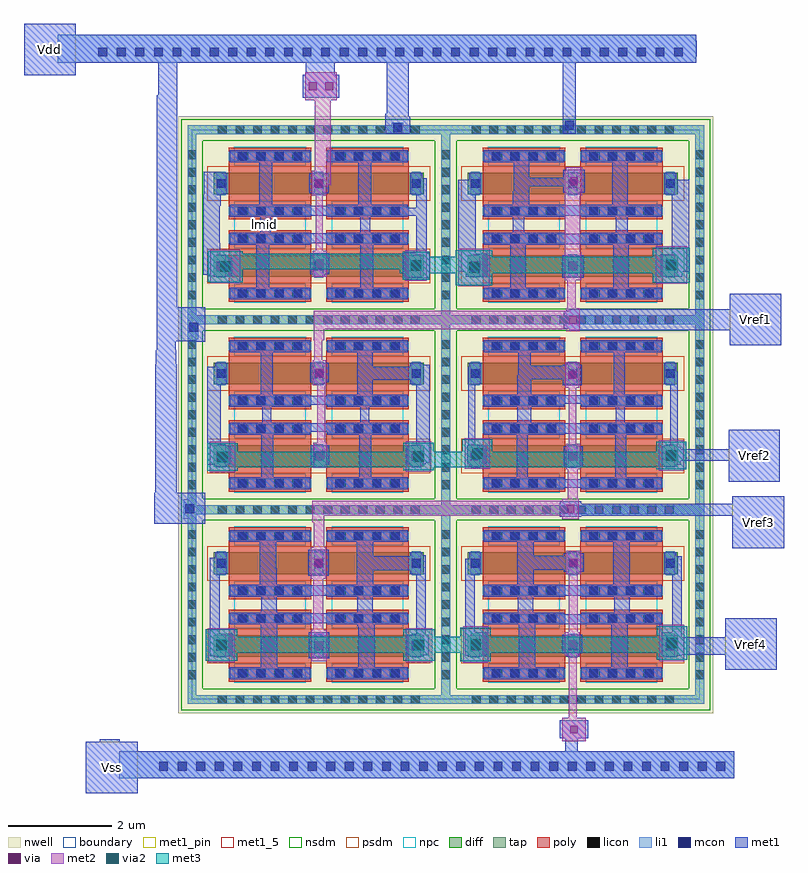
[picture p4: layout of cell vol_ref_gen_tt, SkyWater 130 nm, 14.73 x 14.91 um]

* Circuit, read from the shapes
.subckt vol_ref_gen_tt Vdd Vref1 Vref2 Vref3 Vref4 Vss lmid
XM1 Vref3 Vref4 Vref4 Vdd sky130_fd_pr__pfet_01v8 w=0.42 l=1.6 m=4
XM2 Vref1 Vref2 Vref2 Vdd sky130_fd_pr__pfet_01v8 w=0.42 l=1.6 m=4
XM3 Vdd lmid lmid Vdd sky130_fd_pr__pfet_01v8 w=0.42 l=1.6 m=4
XM4 Vss Vss Vref4 Vdd sky130_fd_pr__pfet_01v8 w=0.42 l=1.6 m=4
XM5 Vref3 Vref3 Vref2 Vdd sky130_fd_pr__pfet_01v8 w=0.42 l=1.6 m=4
XM6 Vref1 Vref1 lmid Vdd sky130_fd_pr__pfet_01v8 w=0.42 l=1.6 m=4
.ends

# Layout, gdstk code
import gdstk
lib = gdstk.Library(unit=1e-6, precision=1e-09)
def R(c, l, rs):  # rectangles x0, y0, x1, y1
    for r in rs: c.add(gdstk.rectangle(r[:2], r[2:], *l))
def A(c, l, x, y, w, h, nx, ny, dx, dy):  # array of equal rectangles
    R(c, l, [(x+i*dx, y+j*dy, x+i*dx+w, y+j*dy+h) for i in range(nx) for j in range(ny)])
nwell = (64, 20)
diff = (65, 20)
tap = (65, 44)
poly = (66, 20)
licon = (66, 44)
li1 = (67, 20)
mcon = (67, 44)
met1_5 = (68, 5)
met1_pin = (68, 16)
met1 = (68, 20)
via = (68, 44)
met2 = (69, 20)
via2 = (69, 44)
met3 = (70, 20)
nsdm = (93, 44)
psdm = (94, 20)
npc = (95, 20)
boundary = (235, 4)

sky130_fd_pr__pfet_01v8_ = lib.new_cell('sky130_fd_pr__pfet_01v8_8WDS2C')
R(sky130_fd_pr__pfet_01v8_, nwell, [(-2.725,-2.105,2.725,2.105)])
R(sky130_fd_pr__pfet_01v8_, diff, [(-2.035,-1.01,2.035,-0.59), (-2.035,0.59,2.035,1.01)])
R(sky130_fd_pr__pfet_01v8_, tap, [(-2.545,-1.925,2.545,-1.755), (-2.545,-1.755,-2.375,1.755), (2.375,-1.755,2.545,1.755), (-2.545,1.755,2.545,1.925)])
R(sky130_fd_pr__pfet_01v8_, poly, [(-1.745,-1.495,-0.145,-0.105), (0.145,-1.495,1.745,-0.105), (-1.745,0.105,-0.145,1.495), (0.145,0.105,1.745,1.495)])
A(sky130_fd_pr__pfet_01v8_, licon, -1.955, -1.925, 0.17, 0.17, 12, 2, 0.34, 3.68)
A(sky130_fd_pr__pfet_01v8_, licon, -2.545, -1.445, 0.17, 0.17, 1, 9, 0, 0.34)
A(sky130_fd_pr__pfet_01v8_, licon, 2.375, -1.445, 0.17, 0.17, 1, 9, 0, 0.34)
A(sky130_fd_pr__pfet_01v8_, licon, -1.54, -1.415, 0.17, 0.17, 4, 2, 0.34, 1.06)
A(sky130_fd_pr__pfet_01v8_, licon, 0.35, -1.415, 0.17, 0.17, 4, 2, 0.34, 1.06)
A(sky130_fd_pr__pfet_01v8_, licon, -1.975, -0.885, 0.17, 0.17, 3, 2, 1.89, 1.6)
A(sky130_fd_pr__pfet_01v8_, licon, -1.54, 0.185, 0.17, 0.17, 4, 2, 0.34, 1.06)
A(sky130_fd_pr__pfet_01v8_, licon, 0.35, 0.185, 0.17, 0.17, 4, 2, 0.34, 1.06)
A(sky130_fd_pr__pfet_01v8_, li1, -1.975, -1.03, 0.17, 0.46, 3, 2, 1.89, 1.6)
R(sky130_fd_pr__pfet_01v8_, li1, [(-2.545,-1.925,2.545,-1.755), (-2.545,-1.755,-2.375,1.755), (2.375,-1.755,2.545,1.755), (-1.745,-1.415,-0.145,-1.245), (0.145,-1.415,1.745,-1.245), (-1.745,-0.355,-0.145,-0.185), (0.145,-0.355,1.745,-0.185), (-1.745,0.185,-0.145,0.355), (0.145,0.185,1.745,0.355), (-1.745,1.245,-0.145,1.415), (0.145,1.245,1.745,1.415), (-2.545,1.755,2.545,1.925)])
A(sky130_fd_pr__pfet_01v8_, mcon, -1.57, -1.415, 0.17, 0.17, 4, 2, 0.36, 1.06)
A(sky130_fd_pr__pfet_01v8_, mcon, 0.32, -1.415, 0.17, 0.17, 4, 2, 0.36, 1.06)
A(sky130_fd_pr__pfet_01v8_, mcon, -1.975, -0.885, 0.17, 0.17, 3, 2, 1.89, 1.6)
A(sky130_fd_pr__pfet_01v8_, mcon, -1.57, 0.185, 0.17, 0.17, 4, 2, 0.36, 1.06)
A(sky130_fd_pr__pfet_01v8_, mcon, 0.32, 0.185, 0.17, 0.17, 4, 2, 0.36, 1.06)
A(sky130_fd_pr__pfet_01v8_, met1, -2.005, -1.01, 0.23, 0.42, 3, 2, 1.89, 1.6)
R(sky130_fd_pr__pfet_01v8_, met1, [(-1.725,-1.445,-0.165,-1.215), (0.165,-1.445,1.725,-1.215), (-1.725,-0.385,-0.165,-0.155), (0.165,-0.385,1.725,-0.155), (-1.725,0.155,-0.165,0.385), (0.165,0.155,1.725,0.385), (-1.725,1.215,-0.165,1.445), (0.165,1.215,1.725,1.445)])
R(sky130_fd_pr__pfet_01v8_, nsdm, [(-2.67,-2.05,2.67,-1.63), (-2.67,-1.63,-2.25,1.63), (2.25,-1.63,2.67,1.63), (-2.67,1.63,2.67,2.05)])
R(sky130_fd_pr__pfet_01v8_, psdm, [(-2.16,-1.135,2.16,-0.465), (-2.16,0.465,2.16,1.135)])
R(sky130_fd_pr__pfet_01v8_, npc, [(-1.64,-1.515,-0.25,-1.145), (0.25,-1.515,1.64,-1.145), (-1.64,-0.455,-0.25,0.455), (0.25,-0.455,1.64,0.455), (-1.64,1.145,-0.25,1.515), (0.25,1.145,1.64,1.515)])
R(sky130_fd_pr__pfet_01v8_, boundary, [(-2.46,-1.84,2.46,1.84)])

vol_ref_gen_tt = lib.new_cell('vol_ref_gen_tt')
R(vol_ref_gen_tt, li1, [(1.96,-11.34,13.88,-10.82), (3.21,-6.31,3.43,-5.93), (3.31,-2.83,3.49,-2.37), (7.24,1.18,7.46,1.36), (10.59,1.23,10.77,1.4), (0.76,2.53,13.14,3.07)])
A(vol_ref_gen_tt, mcon, 2.73, -11.195, 0.17, 0.17, 31, 1, 0.36, 0)
A(vol_ref_gen_tt, mcon, 1.55, 2.65, 0.17, 0.17, 32, 1, 0.36, 0)
R(vol_ref_gen_tt, mcon, [(3.235,-6.205,3.405,-6.035), (3.315,-2.685,3.485,-2.515), (7.265,1.185,7.435,1.355), (10.595,1.23,10.765,1.4)])
R(vol_ref_gen_tt, met1_5, [(4.74,-0.68,4.82,-0.53)])
R(vol_ref_gen_tt, met1_pin, [(1.31,-11.63,2.31,-10.63), (13.7,-9.24,14.7,-8.24), (13.84,-6.88,14.84,-5.88), (13.77,-5.59,14.76,-4.59), (13.79,-2.95,14.79,-1.95), (0.11,2.28,1.11,3.28)])
R(vol_ref_gen_tt, met1, [(1.31,-11.63,2.31,-11.34), (1.31,-11.34,13.88,-10.82), (1.31,-10.82,2.31,-10.63), (10.6,-10.82,10.84,-10.57), (1.58,-10.63,1.97,-10.59), (10.49,-10.57,11.05,-10.22), (11.49,-9.39,11.81,-8.23), (6.59,-9.33,6.91,-8.4), (9.7,-9.32,10.02,-8.36), (4.7,-9.26,5.02,-8.1), (13.7,-9.24,14.7,-8.95), (5.63,-9.02,6.03,-8.51), (3.71,-8.98,4.15,-8.54), (8.66,-8.97,9.08,-8.51), (12.47,-8.97,12.86,-8.95), (7.53,-8.96,7.95,-8.56), (12.47,-8.95,14.7,-8.61), (10.54,-8.92,10.93,-8.56), (12.47,-8.61,12.86,-8.51), (13.7,-8.61,14.7,-8.24), (7.71,-8.56,7.9,-7.02), (3.71,-8.54,3.9,-7.07), (8.66,-8.51,8.85,-7.09), (12.67,-8.51,12.86,-7.04), (6.57,-8.4,6.91,-8.17), (9.68,-8.36,10.02,-8.16), (10.45,-8.36,11.38,-8.16), (5.42,-8.34,6.35,-8.14), (11.55,-8.22,11.85,-7.82), (6.57,-8.17,6.87,-7.69), (9.68,-8.16,9.98,-7.75), (4.71,-8.1,5.01,-7.75), (11.53,-7.82,11.85,-6.66), (5.47,-7.8,6.4,-7.6), (10.43,-7.8,11.36,-7.6), (4.68,-7.75,5.01,-7.27), (9.67,-7.75,9.99,-7.3), (6.56,-7.69,6.88,-7.31), (5.62,-7.42,6.02,-6.91), (10.57,-7.34,10.96,-7.3), (6.56,-7.31,7.69,-7.04), (9.67,-7.3,10.96,-7.03), (4.68,-7.27,5,-6.59), (6.56,-7.04,6.88,-6.53), (9.67,-7.03,9.99,-6.59), (10.57,-7.03,10.96,-6.98), (13.84,-6.88,14.84,-6.25), (2.63,-6.41,3.62,-5.81), (10.49,-6.27,10.91,-6.25), (10.49,-6.25,14.84,-6.02), (10.49,-6.02,10.91,-5.97), (13.84,-6.02,14.84,-5.88), (2.65,-5.81,3.07,-3.32), (9.72,-5.71,11.48,-5.57), (4.71,-5.68,4.94,-4.5), (6.61,-5.68,6.84,-4.63), (11.57,-5.62,11.78,-4.63), (13.77,-5.59,14.76,-5.19), (9.66,-5.57,11.48,-5.55), (9.66,-5.55,9.87,-4.64), (10.57,-5.3,10.94,-4.91), (3.66,-5.27,3.92,-5.26), (5.67,-5.27,6.03,-4.89), (12.47,-5.27,12.84,-5.19), (3.66,-5.26,4.12,-4.91), (7.53,-5.26,7.9,-5.23), (8.7,-5.25,9.07,-4.9), (7.53,-5.23,7.97,-4.91), (12.47,-5.19,14.76,-4.96), (12.47,-4.96,12.84,-4.92), (13.77,-4.96,14.76,-4.59), (12.64,-4.92,12.78,-3.46), (3.66,-4.91,3.92,-3.37), (7.71,-4.91,7.97,-3.62), (8.72,-4.9,8.86,-3.37), (10.4,-4.66,11.33,-4.46), (9.66,-4.64,9.94,-4.58), (5.13,-4.63,7.04,-4.46), (11.58,-4.63,11.75,-4.08), (9.67,-4.58,9.94,-3.61), (4.73,-4.5,4.9,-4.13), (6.63,-4.46,6.8,-4.1), (4.7,-4.13,4.93,-2.95), (5.06,-4.1,6.97,-3.93), (10.06,-4.08,11.82,-3.92), (6.57,-3.93,6.87,-3.62), (11.54,-3.92,11.75,-3.01), (10.55,-3.72,10.92,-3.61), (5.66,-3.67,6.02,-3.29), (6.57,-3.62,7.97,-3.37), (9.67,-3.61,10.92,-3.53), (9.69,-3.53,10.92,-3.35), (6.57,-3.37,6.87,-3.03), (7.71,-3.37,7.97,-3.33), (9.69,-3.35,9.93,-2.96), (10.55,-3.35,10.92,-3.33), (2.66,-3.32,3.06,-3.05), (2.68,-3.05,3.05,-2.87), (6.64,-3.03,6.87,-2.86), (9.69,-2.96,9.79,-2.95), (13.79,-2.95,14.79,-2.66), (3.43,-2.88,3.62,-2.87), (2.68,-2.87,3.62,-2.21), (10.69,-2.66,14.79,-2.63), (10.57,-2.63,14.79,-2.28), (10.69,-2.28,14.79,-2.25), (13.79,-2.25,14.79,-1.95), (2.68,-2.21,3.08,1.9), (5.4,-2.02,5.6,-1.88), (6.06,-2.02,6.45,-1.92), (9.53,-2.02,9.83,-0.84), (11.53,-2.02,11.83,-0.84), (6.63,-1.96,6.88,-0.97), (4.61,-1.94,4.86,-0.89), (6.06,-1.92,6.34,-1.88), (7.45,-1.65,7.97,-1.16), (10.54,-1.64,10.96,-1.2), (8.67,-1.62,9.09,-1.52), (12.45,-1.62,12.87,-1.52), (3.69,-1.61,4.14,-1.58), (3.58,-1.58,4.14,-1.25), (5.66,-1.57,6.03,-1.17), (8.53,-1.52,9.09,-1.18), (12.45,-1.52,13,-1.19), (3.58,-1.25,3.91,-0.97), (12.66,-1.19,13,0.26), (8.53,-1.18,8.87,0.26), (7.71,-1.16,7.92,-0.44), (10.54,-0.99,11.24,-0.79), (3.58,-0.97,3.9,-0.25), (5.44,-0.97,6.98,-0.78), (4.61,-0.89,4.89,-0.83), (9.58,-0.84,9.81,-0.4), (11.58,-0.84,11.81,-0.36), (4.7,-0.83,4.89,-0.78), (4.69,-0.78,4.89,-0.43), (6.63,-0.78,6.82,-0.44), (5.33,-0.44,6.87,-0.25), (7.02,-0.44,7.92,-0.28), (10.5,-0.44,11.2,-0.24), (4.7,-0.43,4.89,-0.41), (4.67,-0.41,4.92,0.7), (9.58,-0.4,9.9,0.04), (11.51,-0.36,11.81,0.82), (7.71,-0.28,7.92,0.29), (3.58,-0.25,3.92,-0.03), (6.59,-0.25,6.84,0.71), (3.59,-0.03,3.92,0.41), (5.64,0,6.02,0.38), (10.56,0.01,10.98,0.13), (9.6,0.04,9.9,0.13), (9.6,0.13,10.98,0.3), (9.6,0.3,9.9,0.78), (10.56,0.3,10.98,0.45), (7.12,1.15,7.58,1.17), (10.55,1.15,10.8,2.53), (7.12,1.17,7.6,1.23), (7.11,1.23,7.6,1.48), (7.11,1.48,7.57,1.54), (7.14,1.54,7.57,2.53), (5.51,1.85,6.22,2.29), (2.71,1.9,3.08,2.53), (0.11,2.28,1.11,2.53), (5.57,2.29,6.13,2.53), (0.11,2.53,13.14,2.65), (0.11,2.65,13.15,2.95), (0.11,2.95,13.14,3.07), (0.11,3.07,1.11,3.28)])
R(vol_ref_gen_tt, via, [(10.695,-10.47,10.845,-10.32), (5.755,-8.84,5.905,-8.69), (3.855,-8.835,4.005,-8.685), (7.665,-8.835,7.815,-8.685), (8.81,-8.815,8.96,-8.665), (10.66,-8.815,10.81,-8.665), (12.59,-8.815,12.74,-8.665), (5.745,-7.24,5.895,-7.09), (10.69,-7.235,10.84,-7.085), (10.625,-6.195,10.775,-6.045), (10.68,-5.18,10.83,-5.03), (12.58,-5.17,12.73,-5.02), (3.86,-5.16,4.01,-5.01), (7.64,-5.16,7.79,-5.01), (5.775,-5.155,5.925,-5.005), (8.81,-5.15,8.96,-5), (10.66,-3.6,10.81,-3.45), (5.765,-3.555,5.915,-3.405), (10.675,-2.53,10.825,-2.38), (3.84,-1.505,3.99,-1.355), (10.675,-1.495,10.825,-1.345), (7.635,-1.48,7.785,-1.33), (12.585,-1.48,12.735,-1.33), (8.805,-1.475,8.955,-1.325), (5.77,-1.445,5.92,-1.295), (5.755,0.115,5.905,0.265), (10.695,0.155,10.845,0.305), (5.63,1.995,5.78,2.145), (5.95,1.995,6.1,2.145)])
R(vol_ref_gen_tt, met2, [(10.54,-10.62,11,-10.17), (10.67,-10.17,10.82,-8.99), (8.62,-9.1,9.11,-8.4), (3.68,-9.09,4.19,-8.43), (7.51,-9.09,8.02,-8.43), (5.68,-9.07,5.98,-8.46), (12.42,-9.07,12.91,-8.37), (10.67,-8.99,10.84,-8.97), (10.59,-8.97,10.88,-8.51), (10.67,-8.51,10.84,-7.39), (5.72,-8.46,5.91,-7.47), (5.67,-7.47,5.97,-6.86), (10.62,-7.39,10.91,-6.93), (5.73,-6.86,5.93,-6.38), (5.7,-6.38,5.93,-6.25), (10.54,-6.32,10.86,-6.25), (5.7,-6.25,10.86,-5.96), (10.54,-5.96,10.86,-5.92), (10.65,-5.92,10.84,-5.35), (3.71,-5.41,4.2,-4.82), (7.51,-5.4,8,-4.81), (12.41,-5.38,12.9,-4.79), (10.62,-5.35,10.89,-4.86), (8.65,-5.34,9.14,-4.75), (5.72,-5.32,5.98,-4.84), (10.67,-4.86,10.81,-3.77), (5.79,-4.84,5.95,-3.72), (10.6,-3.77,10.87,-3.28), (5.71,-3.72,5.97,-3.24), (5.74,-3.24,5.89,-2.85), (5.73,-2.85,5.93,-2.64), (10.62,-2.68,10.88,-2.64), (5.73,-2.64,10.88,-2.28), (10.62,-2.28,10.88,-2.23), (10.64,-2.23,10.8,-1.69), (8.53,-1.81,9.14,-1.08), (12.35,-1.76,12.96,-1.03), (3.72,-1.75,4.3,-1.1), (7.5,-1.7,7.92,-1.11), (10.59,-1.69,10.91,-1.15), (5.71,-1.62,5.98,-1.12), (10.59,-1.15,10.89,-0.04), (5.76,-1.12,5.9,-0.05), (5.69,-0.05,5.97,0.15), (10.59,-0.04,10.93,0.42), (5.69,0.15,6.06,0.43), (10.61,0.42,10.93,0.5), (5.75,0.43,6.06,1.8), (5.56,1.8,6.17,2.34)])
R(vol_ref_gen_tt, via2, [(3.835,-8.86,4.035,-8.66), (7.665,-8.86,7.865,-8.66), (8.765,-8.85,8.965,-8.65), (12.565,-8.82,12.765,-8.62), (3.855,-5.215,4.055,-5.015), (7.655,-5.205,7.855,-5.005), (12.555,-5.185,12.755,-4.985), (8.795,-5.145,8.995,-4.945), (8.735,-1.545,8.935,-1.345), (3.91,-1.525,4.11,-1.325), (7.61,-1.505,7.81,-1.305), (12.555,-1.495,12.755,-1.295)])
R(vol_ref_gen_tt, met3, [(8.57,-9.075,9.16,-8.91), (3.63,-9.065,4.24,-8.91), (7.46,-9.065,8.07,-8.91), (12.37,-9.045,12.96,-8.91), (3.63,-8.91,12.96,-8.6), (3.63,-8.6,4.24,-8.455), (7.46,-8.6,8.07,-8.455), (8.57,-8.6,9.16,-8.425), (12.37,-8.6,12.96,-8.395), (3.66,-5.385,4.25,-5.31), (7.46,-5.375,8.05,-5.31), (12.36,-5.355,12.95,-5.31), (8.6,-5.315,9.19,-5.31), (3.66,-5.31,12.95,-5.01), (3.66,-5.01,4.25,-4.845), (7.46,-5.01,8.05,-4.835), (8.6,-5.01,9.19,-4.775), (12.36,-5.01,12.95,-4.815), (8.48,-1.785,9.19,-1.55), (12.3,-1.735,13.01,-1.55), (3.67,-1.725,4.35,-1.48), (7.45,-1.675,7.97,-1.55), (7.39,-1.55,13.01,-1.48), (3.67,-1.48,13.01,-1.23), (3.67,-1.23,7.97,-1.18), (8.48,-1.23,9.19,-1.105), (12.3,-1.23,13.01,-1.055), (3.67,-1.18,4.35,-1.125), (7.45,-1.18,7.97,-1.135)])
vol_ref_gen_tt.add(gdstk.Reference(sky130_fd_pr__pfet_01v8_, (5.825,-0.615)))
vol_ref_gen_tt.add(gdstk.Reference(sky130_fd_pr__pfet_01v8_, (10.745,-7.975)))
vol_ref_gen_tt.add(gdstk.Reference(sky130_fd_pr__pfet_01v8_, (5.825,-7.975)))
vol_ref_gen_tt.add(gdstk.Reference(sky130_fd_pr__pfet_01v8_, (10.745,-4.295)))
vol_ref_gen_tt.add(gdstk.Reference(sky130_fd_pr__pfet_01v8_, (10.745,-0.615)))
vol_ref_gen_tt.add(gdstk.Reference(sky130_fd_pr__pfet_01v8_, (5.825,-4.295)))
vol_ref_gen_tt.add(gdstk.Label('lmid', (4.78,-0.605), layer=68, texttype=5))
vol_ref_gen_tt.add(gdstk.Label('Vref2', (14.265,-5.09), layer=68, texttype=5))
vol_ref_gen_tt.add(gdstk.Label('Vdd', (0.61,2.78), layer=68, texttype=5))
vol_ref_gen_tt.add(gdstk.Label('Vref1', (14.29,-2.45), layer=68, texttype=5))
vol_ref_gen_tt.add(gdstk.Label('Vss', (1.81,-11.13), layer=68, texttype=5))
vol_ref_gen_tt.add(gdstk.Label('Vref3', (14.34,-6.38), layer=68, texttype=5))
vol_ref_gen_tt.add(gdstk.Label('Vref4', (14.2,-8.74), layer=68, texttype=5))

lib.write_gds('vol_ref_gen_tt.gds')
